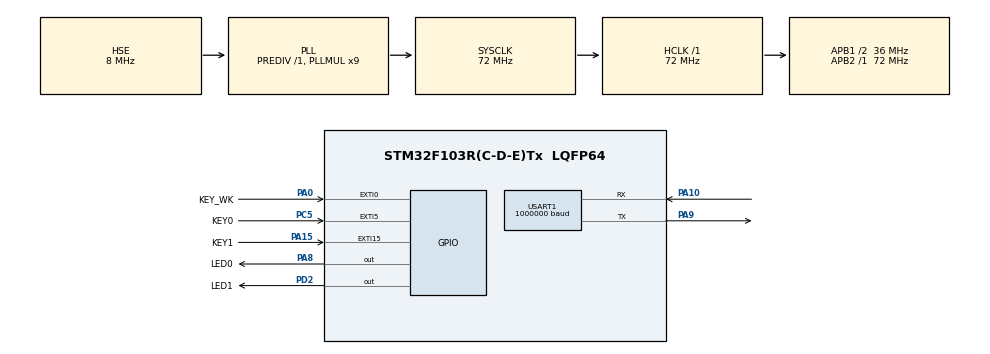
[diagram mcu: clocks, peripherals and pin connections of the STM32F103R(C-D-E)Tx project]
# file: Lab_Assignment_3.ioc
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Mcu.Family=STM32F1
Mcu.Name=STM32F103R(C-D-E)Tx
Mcu.Package=LQFP64
NVIC.EXTI0_IRQn=true\:2\:2\:true\:false\:true\:true\:true\:true
NVIC.EXTI15_10_IRQn=true\:2\:2\:true\:false\:true\:true\:true\:true
NVIC.EXTI9_5_IRQn=true\:2\:2\:true\:false\:true\:true\:true\:true
NVIC.PriorityGroup=NVIC_PRIORITYGROUP_2
NVIC.TIM3_IRQn=true\:2\:1\:true\:false\:true\:true\:true\:true
NVIC.USART1_IRQn=true\:1\:0\:true\:false\:true\:true\:true\:true
PA0-WKUP.GPIO_Label=KEY_WK
PA0-WKUP.GPIO_PuPd=GPIO_PULLDOWN
PA0-WKUP.Signal=GPXTI0
PA10.Mode=Asynchronous
PA10.Signal=USART1_RX
PA13.Mode=Serial_Wire
PA13.Signal=SYS_JTMS-SWDIO
PA14.Mode=Serial_Wire
PA14.Signal=SYS_JTCK-SWCLK
PA15.GPIO_Label=KEY1
PA15.GPIO_ModeDefaultEXTI=GPIO_MODE_IT_FALLING
PA15.GPIO_PuPd=GPIO_PULLUP
PA15.Signal=GPXTI15
PA8.GPIO_Label=LED0
PA8.PinState=GPIO_PIN_SET
PA8.Signal=GPIO_Output
PA9.Mode=Asynchronous
PA9.Signal=USART1_TX
PC5.GPIO_Label=KEY0
PC5.GPIO_ModeDefaultEXTI=GPIO_MODE_IT_FALLING
PC5.GPIO_PuPd=GPIO_PULLUP
PC5.Signal=GPXTI5
PD0-OSC_IN.Mode=HSE-External-Oscillator
PD0-OSC_IN.Signal=RCC_OSC_IN
PD1-OSC_OUT.Mode=HSE-External-Oscillator
PD1-OSC_OUT.Signal=RCC_OSC_OUT
PD2.GPIO_Label=LED1
PD2.PinState=GPIO_PIN_SET
PD2.Signal=GPIO_Output
ProjectManager.HeapSize=0x200
ProjectManager.StackSize=0x400
ProjectManager.TargetToolchain=STM32CubeIDE
RCC.AHBFreq_Value=72000000
RCC.APB1CLKDivider=RCC_HCLK_DIV2
RCC.APB1Freq_Value=36000000
RCC.APB1TimFreq_Value=72000000
RCC.APB2Freq_Value=72000000
RCC.APB2TimFreq_Value=72000000
RCC.HCLKFreq_Value=72000000
RCC.PLLMUL=RCC_PLL_MUL9
RCC.PLLSourceVirtual=RCC_PLLSOURCE_HSE
RCC.SYSCLKFreq_VALUE=72000000
RCC.SYSCLKSource=RCC_SYSCLKSOURCE_PLLCLK
RCC.USBFreq_Value=72000000
TIM3.Period=9999
TIM3.Prescaler=7199
USART1.BaudRate=1000000
USART1.VirtualMode=VM_ASYNC
VP_TIM3_VS_ClockSourceINT.Mode=Internal
board=custom

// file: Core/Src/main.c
/* USER CODE BEGIN Header */
/**
  ******************************************************************************
  * @file           : main.c
  * @brief          : Main program body
  ******************************************************************************
  * @attention
  *
  * Copyright (c) 2024 STMicroelectronics.
  * All rights reserved.
  *
  * This software is licensed under terms that can be found in the LICENSE file
  * in the root directory of this software component.
  * If no LICENSE file comes with this software, it is provided AS-IS.
  *
  ******************************************************************************
  */
/* USER CODE END Header */
#include "main.h"
#include "tim.h"
#include "usart.h"
#include "gpio.h"

/* USER CODE BEGIN PTD */
#define FRAME_SIZE 45 * 60
/* USER CODE END PTD */

/* USER CODE BEGIN PD */
extern uint8_t rxBuffer[2];
extern uint8_t frame_flag;
extern uint16_t img[FRAME_SIZE];
extern uint16_t zoom_in;
extern uint8_t captured;
/* USER CODE END PD */

void SystemClock_Config(void);

int main(void)
{

  /* MCU Configuration--------------------------------------------------------*/

  /* Reset of all peripherals, Initializes the Flash interface and the Systick. */
  HAL_Init();

  /* Configure the system clock */
  SystemClock_Config();

  /* USER CODE BEGIN SysInit */
  LCD_Init();
  /* USER CODE END SysInit */

  /* Initialize all configured peripherals */
  MX_GPIO_Init();
  MX_TIM3_Init();
  MX_USART1_UART_Init();
  /* USER CODE BEGIN 2 */
  HAL_UART_Receive_IT(&huart1, rxBuffer, 2);

  LCD_ShowString(0, 180, 200, 24, 16, (uint8_t*)"The displaying time:");
  LCD_ShowString(0, 210, 200, 24, 24, (uint8_t*)"   min    sec");
  LCD_ShowString(0, 245, 200, 24, 16, (uint8_t *)"Captured:");
  LCD_ShowString(120, 245, 200, 24, 16, (uint8_t *)"Speed:");
  LCD_ShowString(120, 270, 200, 24, 16, (uint8_t *)"Status:");
  LCD_ShowString(80, 295, 200, 24, 24, (uint8_t *)"Displaying");
  LCD_ShowString(220, 0, 12, 300, 24,(uint8_t *)"Video Player");

  /* USER CODE END 2 */

  /* Infinite loop */
  while (1)
  {

    /* USER CODE BEGIN 3 */
//      LCD_ShowString(30, 100, 200, 24, 24,(uint8_t*)"Digital Counter Demo");
	  if(frame_flag == 1){
		  HAL_TIM_Base_Start_IT(&htim3);
		  LCD_ShowPic(0, 0, 60, 45, img, zoom_in);
		  frame_flag = 0;
		 if(captured == 1){
		  LCD_ShowPic2(0, 275, 60, 45, img);
		  captured = 0;
		 }
		  HAL_TIM_Base_Stop_IT(&htim3);
	  }
  }
  /* USER CODE END 3 */
}

void SystemClock_Config(void)
{
  RCC_OscInitTypeDef RCC_OscInitStruct = {0};
  RCC_ClkInitTypeDef RCC_ClkInitStruct = {0};

  /** Initializes the RCC Oscillators according to the specified parameters
  * in the RCC_OscInitTypeDef structure.
  */
  RCC_OscInitStruct.OscillatorType = RCC_OSCILLATORTYPE_HSE;
  RCC_OscInitStruct.HSEState = RCC_HSE_ON;
  RCC_OscInitStruct.HSEPredivValue = RCC_HSE_PREDIV_DIV1;
  RCC_OscInitStruct.HSIState = RCC_HSI_ON;
  RCC_OscInitStruct.PLL.PLLState = RCC_PLL_ON;
  RCC_OscInitStruct.PLL.PLLSource = RCC_PLLSOURCE_HSE;
  RCC_OscInitStruct.PLL.PLLMUL = RCC_PLL_MUL9;
  if (HAL_RCC_OscConfig(&RCC_OscInitStruct) != HAL_OK)
  {
    Error_Handler();
  }

  /** Initializes the CPU, AHB and APB buses clocks
  */
  RCC_ClkInitStruct.ClockType = RCC_CLOCKTYPE_HCLK|RCC_CLOCKTYPE_SYSCLK
                              |RCC_CLOCKTYPE_PCLK1|RCC_CLOCKTYPE_PCLK2;
  RCC_ClkInitStruct.SYSCLKSource = RCC_SYSCLKSOURCE_PLLCLK;
  RCC_ClkInitStruct.AHBCLKDivider = RCC_SYSCLK_DIV1;
  RCC_ClkInitStruct.APB1CLKDivider = RCC_HCLK_DIV2;
  RCC_ClkInitStruct.APB2CLKDivider = RCC_HCLK_DIV1;

  if (HAL_RCC_ClockConfig(&RCC_ClkInitStruct, FLASH_LATENCY_2) != HAL_OK)
  {
    Error_Handler();
  }
}

void Error_Handler(void)
{
  __disable_irq();
  while (1)
  {
  }
}
